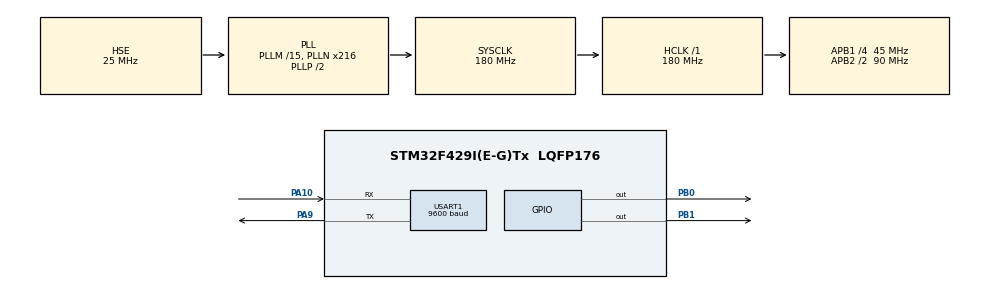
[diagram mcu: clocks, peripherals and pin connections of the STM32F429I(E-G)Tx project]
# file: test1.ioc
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Mcu.Family=STM32F4
Mcu.Name=STM32F429I(E-G)Tx
Mcu.Package=LQFP176
NVIC.PriorityGroup=NVIC_PRIORITYGROUP_4
NVIC.USART1_IRQn=true\:0\:0\:false\:false\:true\:true\:true\:true
PA10.Mode=Asynchronous
PA10.Signal=USART1_RX
PA13.Mode=Serial_Wire
PA13.Signal=SYS_JTMS-SWDIO
PA14.Mode=Serial_Wire
PA14.Signal=SYS_JTCK-SWCLK
PA9.Mode=Asynchronous
PA9.Signal=USART1_TX
PB0.Signal=GPIO_Output
PB1.Signal=GPIO_Output
PH0/OSC_IN.Mode=HSE-External-Oscillator
PH0/OSC_IN.Signal=RCC_OSC_IN
PH1/OSC_OUT.Mode=HSE-External-Oscillator
PH1/OSC_OUT.Signal=RCC_OSC_OUT
ProjectManager.HeapSize=0x200
ProjectManager.StackSize=0x400
ProjectManager.TargetToolchain=MDK-ARM V5
RCC.48MHZClocksFreq_Value=90000000
RCC.AHBFreq_Value=180000000
RCC.APB1CLKDivider=RCC_HCLK_DIV4
RCC.APB1Freq_Value=45000000
RCC.APB1TimFreq_Value=90000000
RCC.APB2CLKDivider=RCC_HCLK_DIV2
RCC.APB2Freq_Value=90000000
RCC.APB2TimFreq_Value=180000000
RCC.CortexFreq_Value=180000000
RCC.HCLKFreq_Value=180000000
RCC.HSE_VALUE=25000000
RCC.HSI_VALUE=16000000
RCC.LSE_VALUE=32768
RCC.PLLM=15
RCC.PLLN=216
RCC.PLLSourceVirtual=RCC_PLLSOURCE_HSE
RCC.SYSCLKFreq_VALUE=180000000
RCC.SYSCLKSource=RCC_SYSCLKSOURCE_PLLCLK
RCC.VCOOutputFreq_Value=360000000
TIM2.Prescaler=179
USART1.BaudRate=9600
USART1.VirtualMode=VM_ASYNC
VP_TIM2_VS_ClockSourceINT.Mode=Internal
board=custom

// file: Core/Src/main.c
/* USER CODE BEGIN Header */
/**
  ******************************************************************************
  * @file           : main.c
  * @brief          : Main program body
  ******************************************************************************
  * @attention
  *
  * Copyright (c) 2024 STMicroelectronics.
  * All rights reserved.
  *
  * This software is licensed under terms that can be found in the LICENSE file
  * in the root directory of this software component.
  * If no LICENSE file comes with this software, it is provided AS-IS.
  *
  ******************************************************************************
  */
/* USER CODE END Header */
#include "main.h"
#include "tim.h"
#include "usart.h"
#include "gpio.h"

/* USER CODE BEGIN Includes */
#include "string.h"
#include "stdio.h"
/* USER CODE END Includes */

void SystemClock_Config(void);

/* USER CODE BEGIN 0 */

unsigned int baud;
unsigned int t1=0,t2=0,t=0;               // 定时器寄存器为16位
unsigned int b2=1;
unsigned int b1=1;
unsigned int i;

char a[20];

void HAL_UART_RxCpltCallback(UART_HandleTypeDef *huart)
{
	 if(huart->Instance == USART1)
	 {
	    uart_rx_string[rx_count++] = uart_rx_temp;
	    if(rx_count == 49)
				rx_count = 0;
	    HAL_UART_Receive_IT(&huart1,&uart_rx_temp,1);
			sprintf(a,"%c",uart_rx_temp);
			HAL_UART_Transmit(&huart1,(uint8_t *)a,1,1000);
	 }
}
unsigned char flag2=0;
void baud_test()
{
	static uint32_t baud_uwtick;

	if(uwTick - baud_uwtick < 1000)
	  return;
	baud_uwtick = uwTick;

	flag2 = (flag2+1)%5;
	if(flag2==0)
	{
		if(t>=8 && t<=10)
		{
			baud = 115200;
			huart1.Init.BaudRate = baud;
		}
	else if(t>=12 && t<=15)
	{
			baud = 76800;
		huart1.Init.BaudRate = baud;
	}
	else if(t>=51 && t<=53)
	{
			baud = 19200;
		huart1.Init.BaudRate = baud;
	}
	else if(t>=102 && t<=105)
	{
			baud = 9600;
		huart1.Init.BaudRate = baud;
	}
	// 修正波特率值(加上电平变更的斜率，大概为0.75%，经验值)
//	huart1.Init.BaudRate = baud;
	if (HAL_UART_Init(&huart1) != HAL_OK)
	{
		Error_Handler();
	}
	b1 = 1;
	b2 = 1;
	t1 = 0;
	t2 = 0;

//	b1=0;
//	b2=0;

	}
//	baud=((unsigned int)t*403/400);
//	// 修正波特率值(加上电平变更的斜率，大概为0.75%，经验值)
//	huart1.Init.BaudRate = baud;
//	if (HAL_UART_Init(&huart1) != HAL_OK)
//	{
//		Error_Handler();
//	}
//	b1=0;
//	b2=0;
//	baud_uwtick = uwTick;
}

void led_proc()
{
	static unsigned char flag=0;
	static uint32_t led_uwtick;
	if(uwTick - led_uwtick < 50)
	  return;

	led_uwtick = uwTick;

	if(flag==0)
	{
		HAL_GPIO_WritePin(GPIOB,GPIO_PIN_0,GPIO_PIN_SET);
		flag=1;
	}
	else
	{
		HAL_GPIO_WritePin(GPIOB,GPIO_PIN_0,GPIO_PIN_RESET);
		flag=0;
	}
}

/* USER CODE END 0 */

int main(void)
{

  /* MCU Configuration--------------------------------------------------------*/

  /* Reset of all peripherals, Initializes the Flash interface and the Systick. */
  HAL_Init();

  /* Configure the system clock */
  SystemClock_Config();

  /* Initialize all configured peripherals */
  MX_GPIO_Init();
  MX_USART1_UART_Init();
  MX_TIM2_Init();

  /* Infinite loop */
  while (1)
  {

    /* USER CODE BEGIN 3 */
		 if(flag2 == 4)
		 {
				b1 = HAL_GPIO_ReadPin(GPIOA,10);            // 读GPIOA.10的电平
				if(b2 != b1)                               // 如果有电平变更
				{
					t2 = __HAL_TIM_GetCounter(&htim2);         // 读定时器中的值
				b1 = b2;                          // 更新为新的引脚值
				if((t1 == 0)&&(t==0))        // 第一个电平变更
				{
								t1 = t2;                     // 记录第一个时刻点
				}
				else                                  // 不是第一个电平变更
				{
								if(t == 0)                   // 第一段电平
								{
												t = t2-t1;           // 记录第一段电平所用时间
								}
								else                          // 不是第一段电平
								{
												if((t2-t1)< t)       // 保存电平段的最小值
												{
																t = t2-t1;
												}
								}
								t1 = t2;                      // 更新为新的时刻点
				}
				}
		 }

		baud_test();

//	  Uart1_RX();
//		led_proc();

  /* USER CODE END 3 */

	}
}

void SystemClock_Config(void)
{
  RCC_OscInitTypeDef RCC_OscInitStruct = {0};
  RCC_ClkInitTypeDef RCC_ClkInitStruct = {0};

  /** Configure the main internal regulator output voltage
  */
  __HAL_RCC_PWR_CLK_ENABLE();
  __HAL_PWR_VOLTAGESCALING_CONFIG(PWR_REGULATOR_VOLTAGE_SCALE1);

  /** Initializes the RCC Oscillators according to the specified parameters
  * in the RCC_OscInitTypeDef structure.
  */
  RCC_OscInitStruct.OscillatorType = RCC_OSCILLATORTYPE_HSE;
  RCC_OscInitStruct.HSEState = RCC_HSE_ON;
  RCC_OscInitStruct.PLL.PLLState = RCC_PLL_ON;
  RCC_OscInitStruct.PLL.PLLSource = RCC_PLLSOURCE_HSE;
  RCC_OscInitStruct.PLL.PLLM = 15;
  RCC_OscInitStruct.PLL.PLLN = 216;
  RCC_OscInitStruct.PLL.PLLP = RCC_PLLP_DIV2;
  RCC_OscInitStruct.PLL.PLLQ = 4;
  if (HAL_RCC_OscConfig(&RCC_OscInitStruct) != HAL_OK)
  {
    Error_Handler();
  }

  /** Activate the Over-Drive mode
  */
  if (HAL_PWREx_EnableOverDrive() != HAL_OK)
  {
    Error_Handler();
  }

  /** Initializes the CPU, AHB and APB buses clocks
  */
  RCC_ClkInitStruct.ClockType = RCC_CLOCKTYPE_HCLK|RCC_CLOCKTYPE_SYSCLK
                              |RCC_CLOCKTYPE_PCLK1|RCC_CLOCKTYPE_PCLK2;
  RCC_ClkInitStruct.SYSCLKSource = RCC_SYSCLKSOURCE_PLLCLK;
  RCC_ClkInitStruct.AHBCLKDivider = RCC_SYSCLK_DIV1;
  RCC_ClkInitStruct.APB1CLKDivider = RCC_HCLK_DIV4;
  RCC_ClkInitStruct.APB2CLKDivider = RCC_HCLK_DIV2;

  if (HAL_RCC_ClockConfig(&RCC_ClkInitStruct, FLASH_LATENCY_5) != HAL_OK)
  {
    Error_Handler();
  }
}

void Error_Handler(void)
{
  __disable_irq();
  while (1)
  {
  }
}
